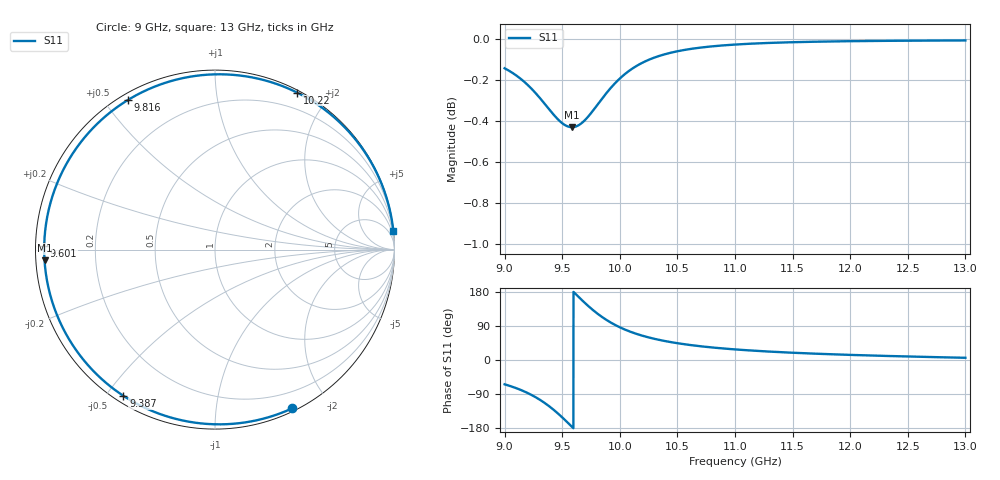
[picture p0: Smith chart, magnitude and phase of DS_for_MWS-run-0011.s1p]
! TOUCHSTONE file generated by CST DESIGN STUDIO
! Date and time: Tue Feb  4 18:26:35 2025
! Project name: C:\Work\MatlabApps\UnitCellOptimizationMatlab\CST\unitcell.cst
! Tree item: Tasks\Sweep1\SPara1\S-Parameters
! Header version: 2024
! Port assignment regex: !\s*Touchstone port\s*([0-9]+)\s*=\s*(CST MWS port|CST DES external port|CST DES block port)\s*(.+)\s* \(\"(.*)\"\)(\s*mode\s*([0-9]+))?.*
! Touchstone port assignment:
! Touchstone port 1 = CST DES external port 1 ("")
# GHz S MA R 50
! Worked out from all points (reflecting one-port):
!   4001 points, 9 GHz to 13 GHz, reference 50 ohm
!   lowest |S11| = -0.4 dB at 9.585 GHz (marker M1), VSWR 40.39, Z = 1.24 - j1.58 ohm
!   phase of S11 starts at -64 deg and turns -290 deg over the sweep
!   S11 on the Smith chart (normalised r, x): 9 GHz: 0.03, -1.60; 9.387 GHz: 0.03, -0.55; 9.601 GHz: 0.02, +0.01; 9.816 GHz: 0.02, +0.58; 10.22 GHz: 0.02, +1.65; 13 GHz: 0, +20
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9  0.9836 -64.1
9.048  0.9819 -68.7
9.117  0.9789 -76.2
9.236  0.9722 -92.6
9.316  0.9666 -106.9
9.387  0.9612 -122.1
9.443  0.9572 -135.9
9.5  0.9538 -151.4
9.544  0.9522 -164.1
9.585  0.9517 -176.4
9.601  0.9518 178.8
9.645  0.9528 165.6
9.692  0.9551 152.0
9.754  0.9595 135.1
9.816  0.9645 120.1
9.857  0.9679 111.2
9.9  0.9712 102.7
10  0.978 86.4
10.103  0.9832 73.3
10.216  0.9873 62.4
10.347  0.9905 52.7
10.5  0.993 44.3
10.72  0.9952 35.6
11  0.9967 27.9
11.5  0.998 19.2
12  0.9986 13.5
12.5  0.9989 9.3
13  0.999 5.8
